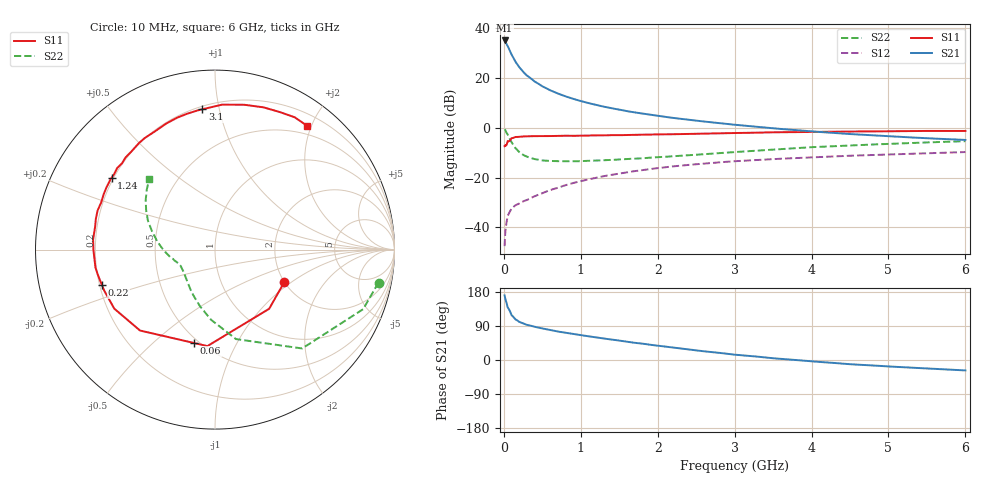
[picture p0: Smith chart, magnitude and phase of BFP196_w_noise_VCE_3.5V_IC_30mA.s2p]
! Infineon Technologies  Discrete & RF Semiconductors
! BFP196
! VCE = 3.5 V,  IC =  30mA
! Common Emitter S-Parameters:  Jan 2016
# GHz  S  MA  R  50
!  f  S11  S21  S12  S22
! GHz  MAG  ANG  MAG  ANG  MAG  ANG  MAG  ANG
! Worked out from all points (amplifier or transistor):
!   210 points, 10 MHz to 6 GHz, reference 50 ohm
!   highest |S21| = 35.0 dB at 10 MHz (marker M1)
!   |S21| within 3 dB of that: start of sweep to 62 MHz
!   unconditionally stable (mu >= 1): 562.2 MHz to 3.998 GHz; 4.006 GHz to 4.239 GHz
!   at 185 MHz: K = 0.59, MSG = 27.8 dB, |S12| = -30.6 dB
!   at 1.52 GHz: K = 1.10, MAG = 10.8 dB, |S12| = -18.3 dB
!   at 6 GHz: K = 0.98, MSG = 2.4 dB, |S12| = -9.8 dB
!   lowest NFmin = 1.40 dB at 500 MHz
!   S11 on the Smith chart (normalised r, x): 10 MHz: 1.99, -0.89; 60 MHz: 0.47, -0.69; 220 MHz: 0.21, -0.15; 1.24 GHz: 0.19, +0.30; 3.1 GHz: 0.22, +0.89; 6 GHz: 0.37, +1.94
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0.01  0.4262 -25.4  56.22 170.6  0.0042 86.6  0.9293 -11.4
0.02  0.447 -47.5  53.38 160.6  0.0084 73.7  0.8897 -21.9
0.05  0.5392 -94.5  43.61 138.9  0.0169 58.6  0.7343 -48.6
0.06  0.5333 -102.7  40.43 136.0  0.0182 55.5  0.6794 -52.7
0.1  0.6146 -132.8  29.32 118.2  0.0239 46.8  0.5121 -76.8
0.15  0.6505 -149.6  21.11 107.3  0.0277 44.2  0.3912 -93.3
0.2  0.6585 -159.8  16.38 100.6  0.0301 45.0  0.3256 -105.0
0.22  0.6605 -162.7  15.1 99.0  0.0313 45.9  0.3085 -108.5
0.26  0.6676 -167.8  12.79 95.5  0.0337 47.5  0.2804 -115.7
0.3  0.6735 -171.5  11.12 92.7  0.0355 48.8  0.2625 -121.1
0.4  0.6771 -179.6  8.451 87.5  0.0421 52.2  0.2346 -131.5
0.5  0.6814 175.2  6.768 83.2  0.0485 54.5  0.2206 -138.9
0.6  0.6791 169.9  5.652 79.1  0.0559 56.3  0.2153 -144.1
0.7  0.6857 165.5  4.864 75.1  0.0622 57.2  0.2129 -148.0
1.02  0.6935 152.8  3.358 65.0  0.086 57.4  0.2139 -156.2
1.24  0.701 145.2  2.773 58.5  0.1022 55.7  0.2205 -160.3
1.6  0.7154 134.2  2.146 48.1  0.1278 52.1  0.2357 -165.7
2.02  0.7347 121.7  1.711 37.3  0.1558 47.0  0.2569 -172.0
3.1  0.785 95.1  1.109 12.4  0.2167 32.5  0.3317 170.3
4.1  0.8251 77.0  0.822 -5.0  0.2581 20.3  0.4129 155.4
5.1  0.8494 63.4  0.662 -18.0  0.294 9.2  0.4796 143.4
6  0.8597 53.2  0.568 -27.5  0.3244 -0.8  0.5361 133.1
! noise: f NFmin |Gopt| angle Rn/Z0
0.5  1.4  0.4  -173  0.08
0.9  1.6  0.5  -166  0.08
1.5  2.4  0.61  -150  0.14
2  2.9  0.71  -129  0.2
